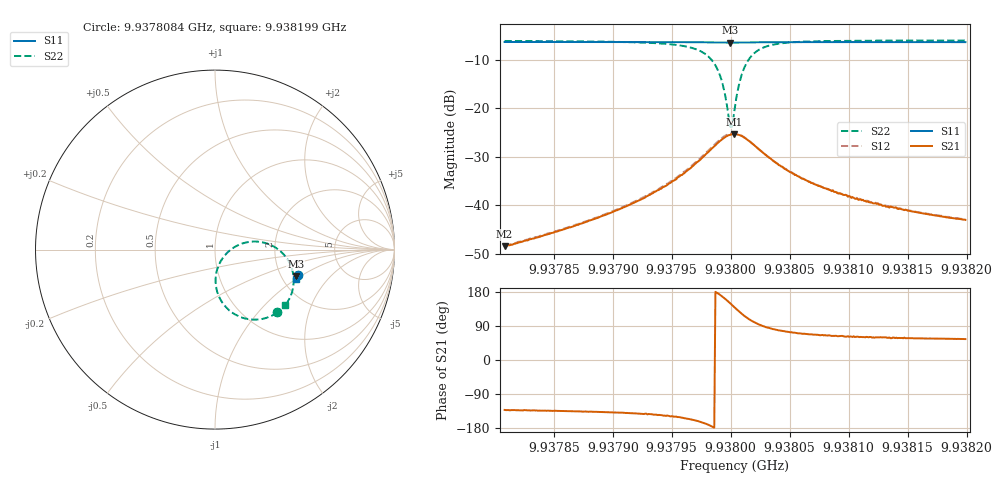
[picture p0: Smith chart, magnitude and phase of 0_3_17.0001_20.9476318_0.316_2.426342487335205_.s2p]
#  HZ  S  RI  R  50.00
! Rohde & Schwarz Vector Network Analyzer
! Rohde-Schwarz,ZNB20-2Port,1311601062101988,3.16
! Created: UTC 3/20/2024, 10:52:02 PM
! freq[Hz]  re:S11  im:S11  re:S21  im:S21  re:S12  im:S12  re:S22  im:S22
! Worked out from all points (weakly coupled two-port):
!   401 points, 9.9378084 GHz to 9.938199 GHz, reference 50 ohm
!   highest |S21| = -25.35 dB at 9.9380027 GHz (marker M1); lowest = -48.4 dB at 9.9378084 GHz (marker M2)
!   lowest |S11| = -6.5 dB at 9.9379998 GHz (marker M3), VSWR 2.80, Z = 119 - j45.8 ohm
!   |S11| at or under -10 dB: nowhere
!   |S22| runs from -23.9 to -6.0 dB; largest |S21 - S12| = 0.0031
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9.93780837e9  0.4606 -0.139  -0.00252 -0.00282  -0.00262 -0.00281  0.3478 -0.3496
9.9378738e9  0.4588 -0.1435  -0.00466 -0.00452  -0.00478 -0.00454  0.3255 -0.3638
9.93790896e9  0.4576 -0.146  -0.00719 -0.0062  -0.00744 -0.00616  0.3012 -0.3751
9.93793924e9  0.4564 -0.1484  -0.0117 -0.00829  -0.0123 -0.00824  0.2596 -0.387
9.93796756e9  0.4543 -0.1506  -0.0233 -0.00958  -0.0242 -0.00942  0.1644 -0.383
9.93798319e9  0.4522 -0.1514  -0.0373 -0.00406  -0.0387 -0.003  0.0574 -0.3163
9.93798807e9  0.4513 -0.1511  -0.0427 0.00151  -0.0441 0.00318  0.0223 -0.2619
9.93799198e9  0.4506 -0.1505  -0.0461 0.00847  -0.0474 0.0106  0.00496 -0.2002
9.93799491e9  0.4501 -0.1501  -0.0475 0.015  -0.0486 0.0176  0.00491 -0.1452
9.93799979e9  0.4499 -0.1488  -0.0457 0.0273  -0.0458 0.0303  0.0414 -0.0494
9.93800077e9  0.4501 -0.1486  -0.0447 0.0297  -0.0444 0.0328  0.0553 -0.0316
9.93800272e9  0.4502 -0.1481  -0.0417 0.0343  -0.0411 0.0371  0.0863 -0.00138
9.9380037e9  0.4503 -0.1479  -0.0401 0.0362  -0.0392 0.039  0.1038 0.0109
9.93800663e9  0.4509 -0.1474  -0.0338 0.041  -0.0324 0.0434  0.1612 0.0369
9.93801053e9  0.4517 -0.1472  -0.0247 0.0442  -0.0228 0.0458  0.2384 0.0444
9.93801444e9  0.4528 -0.147  -0.016 0.0441  -0.0143 0.0451  0.3041 0.0288
9.9380203e9  0.4537 -0.1475  -0.00647 0.0408  -0.00495 0.0411  0.3713 -0.0151
9.9380369e9  0.4551 -0.15  0.00437 0.0279  0.00525 0.0277  0.4347 -0.1308
9.93806913e9  0.4547 -0.1534  0.00645 0.0156  0.00696 0.0155  0.4313 -0.2302
9.93810429e9  0.4537 -0.1563  0.00551 0.0106  0.00595 0.0104  0.4157 -0.2705
9.93813457e9  0.4528 -0.1585  0.00479 0.00814  0.00519 0.00822  0.4057 -0.2885
9.93819903e9  0.4511 -0.1629  0.00403 0.0058  0.00415 0.00584  0.3915 -0.3089
